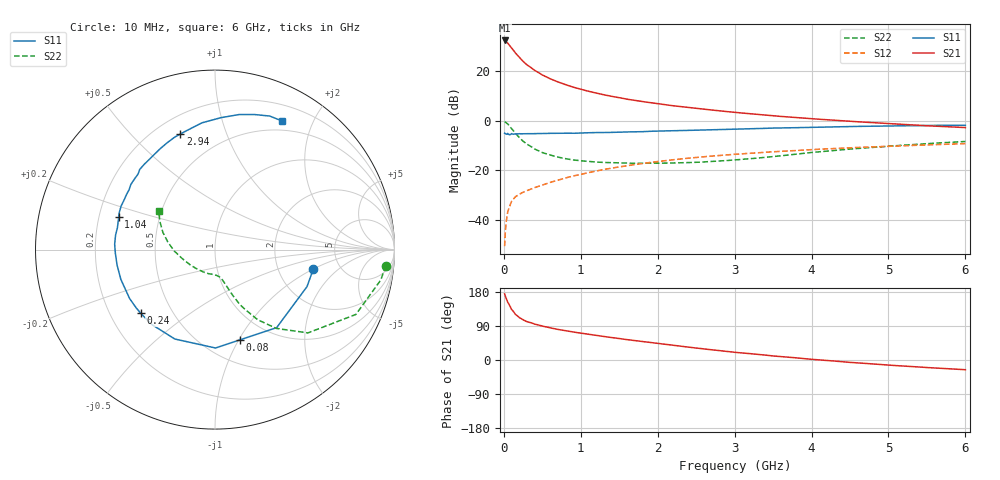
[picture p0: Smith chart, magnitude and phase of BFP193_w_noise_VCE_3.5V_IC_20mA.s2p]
! Infineon Technologies  Discrete & RF Semiconductors
! BFP193
! VCE = 3.5 V,  IC =  20 mA
! Common Emitter S-Parameters:  Jan 2016
# GHz  S  MA  R  50
!  f  S11  S21  S12  S22
! GHz  MAG  ANG  MAG  ANG  MAG  ANG  MAG  ANG
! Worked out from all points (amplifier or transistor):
!   210 points, 10 MHz to 6 GHz, reference 50 ohm
!   highest |S21| = 32.5 dB at 10 MHz (marker M1)
!   |S21| within 3 dB of that: start of sweep to 100.5 MHz
!   unconditionally stable (mu >= 1): 781.9 MHz to 3.853 GHz
!   at 185 MHz: K = 0.48, MSG = 28.1 dB, |S12| = -30.1 dB
!   at 1.52 GHz: K = 1.08, MAG = 12.2 dB, |S12| = -18.6 dB
!   at 6 GHz: K = 0.93, MSG = 3.2 dB, |S12| = -9.3 dB
!   lowest NFmin = 1.40 dB at 450 MHz
!   S11 on the Smith chart (normalised r, x): 10 MHz: 3.17, -1.02; 80 MHz: 0.73, -1.01; 240 MHz: 0.33, -0.33; 1.04 GHz: 0.28, +0.15; 2.94 GHz: 0.30, +0.70; 6 GHz: 0.38, +1.58
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0.01  0.5581 -11.4  42.05 174.6  0.0029 86.9  0.9561 -5.4
0.02  0.5526 -21.9  40.8 167.7  0.0058 82.4  0.939 -10.4
0.05  0.5541 -51.7  37.31 152.6  0.0142 71.2  0.8642 -24.7
0.08  0.5217 -74.5  32.38 142.2  0.0195 62.2  0.7542 -34.1
0.1  0.5482 -89.7  29.84 133.5  0.0232 58.6  0.6951 -41.9
0.15  0.5462 -114.2  23.52 120.5  0.0289 52.1  0.5553 -52.2
0.2  0.5465 -130.5  19.16 112.1  0.0324 50.2  0.4568 -58.7
0.24  0.545 -139.5  16.5 107.3  0.0351 49.2  0.3982 -61.8
0.3  0.5483 -150.2  13.54 101.2  0.0385 50.3  0.337 -65.6
0.4  0.5502 -162.4  10.45 94.8  0.0443 51.4  0.2681 -69.1
0.5  0.5523 -170.8  8.43 89.4  0.0498 53.4  0.2269 -71.4
0.6  0.5554 -177.6  7.085 84.9  0.0564 55.0  0.202 -73.2
0.7  0.5598 176.9  6.116 80.7  0.0627 55.8  0.1841 -74.9
1.02  0.5649 162.1  4.246 70.2  0.0835 57.0  0.1539 -80.6
1.04  0.5665 161.2  4.17 69.6  0.0849 56.9  0.153 -81.1
1.4  0.5807 148.6  3.107 59.4  0.1096 55.5  0.1422 -89.7
2.02  0.6173 129.7  2.183 43.2  0.1508 50.1  0.138 -109.8
2.94  0.6723 106.7  1.51 21.7  0.2059 40.0  0.1583 -145.1
3.1  0.681 103.5  1.43 18.6  0.2144 38.1  0.1652 -151.0
4.1  0.7402 85.9  1.072 0.3  0.2651 27.0  0.2349 179.3
5.1  0.7877 72.4  0.858 -14.8  0.308 16.1  0.3133 159.7
6  0.8081 62.5  0.727 -25.6  0.344 6.5  0.3804 145.6
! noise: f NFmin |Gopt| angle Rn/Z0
0.45  1.4  0.3  160  0.1
0.9  1.45  0.34  172  0.11
1.8  2.2  0.56  -148  0.2
